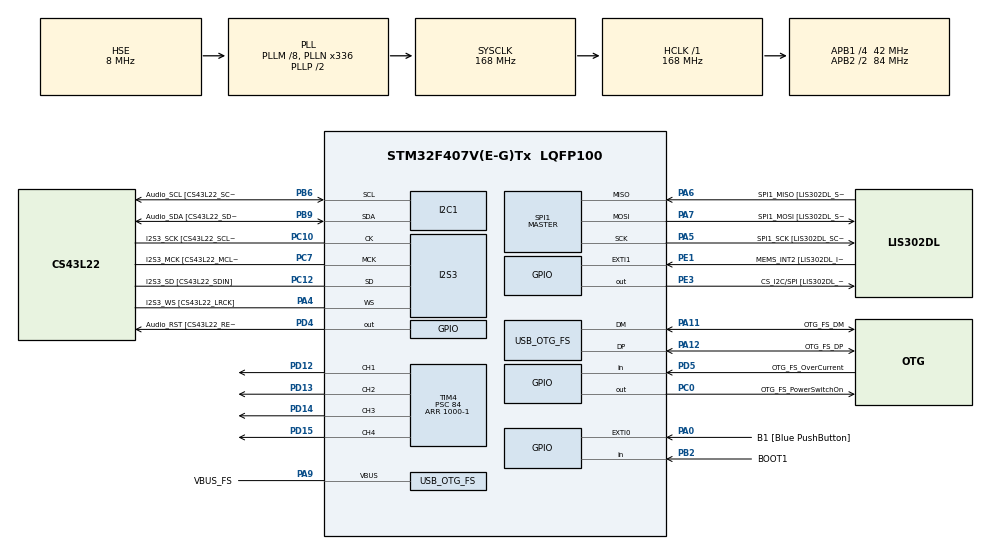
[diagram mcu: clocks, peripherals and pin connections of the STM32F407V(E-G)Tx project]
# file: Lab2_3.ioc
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I2S3.AudioFreq-Half_Duplex_Master=I2S_AUDIOFREQ_96K
I2S3.ErrorAudioFreq=-2.34 %
I2S3.ErrorAudioFreq-Half_Duplex_Master=0.8 %
I2S3.FullDuplexMode=I2S_FULLDUPLEXMODE_DISABLE
I2S3.Instance=SPI$Index
I2S3.RealAudioFreq=93.75 KHz
I2S3.RealAudioFreq-Half_Duplex_Master=96.774 KHz
I2S3.VirtualMode=I2S_MODE_MASTER
Mcu.Family=STM32F4
Mcu.Name=STM32F407V(E-G)Tx
Mcu.Package=LQFP100
NVIC.OTG_FS_IRQn=true\:0\:0\:false\:false\:true\:true\:true\:true
NVIC.PriorityGroup=NVIC_PRIORITYGROUP_0
NVIC.TIM4_IRQn=true\:0\:0\:false\:false\:true\:true\:true\:true
PA0-WKUP.GPIO_Label=B1 [Blue PushButton]
PA0-WKUP.GPIO_ModeDefaultEXTI=GPIO_MODE_EVT_RISING
PA0-WKUP.GPIO_PuPd=GPIO_NOPULL
PA0-WKUP.Signal=GPXTI0
PA10.GPIO_Label=OTG_FS_ID
PA10.GPIO_Mode=GPIO_MODE_AF_PP
PA10.GPIO_PuPd=GPIO_NOPULL
PA10.GPIO_Speed=GPIO_SPEED_FREQ_LOW
PA10.Signal=USB_OTG_FS_ID
PA11.GPIO_Label=OTG_FS_DM
PA11.GPIO_Mode=GPIO_MODE_AF_PP
PA11.GPIO_PuPd=GPIO_NOPULL
PA11.GPIO_Speed=GPIO_SPEED_FREQ_LOW
PA11.Mode=Host_Only
PA11.Signal=USB_OTG_FS_DM
PA12.GPIO_Label=OTG_FS_DP
PA12.GPIO_Mode=GPIO_MODE_AF_PP
PA12.GPIO_PuPd=GPIO_NOPULL
PA12.GPIO_Speed=GPIO_SPEED_FREQ_LOW
PA12.Mode=Host_Only
PA12.Signal=USB_OTG_FS_DP
PA13.GPIO_Label=SWDIO
PA13.Mode=Serial_Wire
PA13.Signal=SYS_JTMS-SWDIO
PA14.GPIO_Label=SWCLK
PA14.Mode=Serial_Wire
PA14.Signal=SYS_JTCK-SWCLK
PA4.GPIO_Label=I2S3_WS [CS43L22_LRCK]
PA4.GPIO_Mode=GPIO_MODE_AF_PP
PA4.GPIO_PuPd=GPIO_NOPULL
PA4.GPIO_Speed=GPIO_SPEED_FREQ_LOW
PA4.Mode=Half_Duplex_Master
PA4.Signal=I2S3_WS
PA5.GPIO_Label=SPI1_SCK [LIS302DL_SCL/SPC]
PA5.GPIO_Mode=GPIO_MODE_AF_PP
PA5.GPIO_PuPd=GPIO_NOPULL
PA5.GPIO_Speed=GPIO_SPEED_FREQ_LOW
PA5.Mode=Full_Duplex_Master
PA5.Signal=SPI1_SCK
PA6.GPIO_Label=SPI1_MISO [LIS302DL_SDO]
PA6.GPIO_Mode=GPIO_MODE_AF_PP
PA6.GPIO_PuPd=GPIO_NOPULL
PA6.GPIO_Speed=GPIO_SPEED_FREQ_LOW
PA6.Mode=Full_Duplex_Master
PA6.Signal=SPI1_MISO
PA7.GPIO_Label=SPI1_MOSI [LIS302DL_SDA/SDI/SDO]
PA7.GPIO_Mode=GPIO_MODE_AF_PP
PA7.GPIO_PuPd=GPIO_NOPULL
PA7.GPIO_Speed=GPIO_SPEED_FREQ_LOW
PA7.Mode=Full_Duplex_Master
PA7.Signal=SPI1_MOSI
PA9.GPIO_Label=VBUS_FS
PA9.GPIO_Mode=GPIO_MODE_INPUT
PA9.GPIO_PuPd=GPIO_NOPULL
PA9.Mode=Activate_VBUS
PA9.Signal=USB_OTG_FS_VBUS
PB10.GPIO_Label=CLK_IN [MP45DT02_CLK]
PB10.GPIO_Mode=GPIO_MODE_AF_PP
PB10.GPIO_PuPd=GPIO_NOPULL
PB10.GPIO_Speed=GPIO_SPEED_FREQ_LOW
PB10.Signal=I2S2_CK
PB2.GPIO_Label=BOOT1
PB2.GPIO_Mode=GPIO_MODE_INPUT
PB2.GPIO_PuPd=GPIO_NOPULL
PB2.Signal=GPIO_Input
PB3.GPIO_Label=SWO
PB3.Signal=SYS_JTDO-SWO
PB6.GPIO_Label=Audio_SCL [CS43L22_SCL]
PB6.GPIO_Mode=GPIO_MODE_AF_OD
PB6.GPIO_Pu=GPIO_PULLUP
PB6.GPIO_PuPd=GPIO_NOPULL
PB6.GPIO_Speed=GPIO_SPEED_FREQ_LOW
PB6.Mode=I2C
PB6.Signal=I2C1_SCL
PB9.GPIO_Label=Audio_SDA [CS43L22_SDA]
PB9.GPIO_Mode=GPIO_MODE_AF_OD
PB9.GPIO_Pu=GPIO_PULLUP
PB9.GPIO_PuPd=GPIO_NOPULL
PB9.GPIO_Speed=GPIO_SPEED_FREQ_LOW
PB9.Mode=I2C
PB9.Signal=I2C1_SDA
PC0.GPIO_Label=OTG_FS_PowerSwitchOn
PC0.GPIO_PuPd=GPIO_NOPULL
PC0.GPIO_Speed=GPIO_SPEED_FREQ_LOW
PC0.PinState=GPIO_PIN_SET
PC0.Signal=GPIO_Output
PC10.GPIO_Label=I2S3_SCK [CS43L22_SCLK]
PC10.GPIO_Mode=GPIO_MODE_AF_PP
PC10.GPIO_PuPd=GPIO_NOPULL
PC10.GPIO_Speed=GPIO_SPEED_FREQ_LOW
PC10.Mode=Half_Duplex_Master
PC10.Signal=I2S3_CK
PC12.GPIO_Label=I2S3_SD [CS43L22_SDIN]
PC12.GPIO_Mode=GPIO_MODE_AF_PP
PC12.GPIO_PuPd=GPIO_NOPULL
PC12.GPIO_Speed=GPIO_SPEED_FREQ_LOW
PC12.Mode=Half_Duplex_Master
PC12.Signal=I2S3_SD
PC14-OSC32_IN.GPIO_Label=PC14-OSC32_IN
PC14-OSC32_IN.Mode=LSE-External-Oscillator
PC14-OSC32_IN.Signal=RCC_OSC32_IN
PC15-OSC32_OUT.GPIO_Label=PC15-OSC32_OUT
PC15-OSC32_OUT.Mode=LSE-External-Oscillator
PC15-OSC32_OUT.Signal=RCC_OSC32_OUT
PC3.GPIO_Label=PDM_OUT [MP45DT02_DOUT]
PC3.GPIO_Mode=GPIO_MODE_AF_PP
PC3.GPIO_PuPd=GPIO_NOPULL
PC3.GPIO_Speed=GPIO_SPEED_FREQ_LOW
PC3.Signal=I2S2_SD
PC7.GPIO_Label=I2S3_MCK [CS43L22_MCLK]
PC7.GPIO_Mode=GPIO_MODE_AF_PP
PC7.GPIO_PuPd=GPIO_NOPULL
PC7.GPIO_Speed=GPIO_SPEED_FREQ_LOW
PC7.Mode=Master_Clock_Activated
PC7.Signal=I2S3_MCK
PD12.Signal=S_TIM4_CH1
PD13.Signal=S_TIM4_CH2
PD14.Signal=S_TIM4_CH3
PD15.Signal=S_TIM4_CH4
PD4.GPIO_Label=Audio_RST [CS43L22_RESET]
PD4.GPIO_PuPd=GPIO_NOPULL
PD4.GPIO_Speed=GPIO_SPEED_FREQ_LOW
PD4.Signal=GPIO_Output
PD5.GPIO_Label=OTG_FS_OverCurrent
PD5.GPIO_Mode=GPIO_MODE_INPUT
PD5.GPIO_PuPd=GPIO_NOPULL
PD5.Signal=GPIO_Input
PE1.GPIO_Label=MEMS_INT2 [LIS302DL_INT2]
PE1.GPIO_ModeDefaultEXTI=GPIO_MODE_EVT_RISING
PE1.GPIO_PuPd=GPIO_NOPULL
PE1.Signal=GPXTI1
PE3.GPIO_Label=CS_I2C/SPI [LIS302DL_CS_I2C/SPI]
PE3.GPIO_PuPd=GPIO_NOPULL
PE3.GPIO_Speed=GPIO_SPEED_FREQ_LOW
PE3.Signal=GPIO_Output
PH0-OSC_IN.GPIO_Label=PH0-OSC_IN
PH0-OSC_IN.Mode=HSE-External-Oscillator
PH0-OSC_IN.Signal=RCC_OSC_IN
PH1-OSC_OUT.GPIO_Label=PH1-OSC_OUT
PH1-OSC_OUT.Mode=HSE-External-Oscillator
PH1-OSC_OUT.Signal=RCC_OSC_OUT
ProjectManager.HeapSize=0x200
ProjectManager.StackSize=0x400
ProjectManager.TargetToolchain=STM32CubeIDE
RCC.48MHZClocksFreq_Value=48000000
RCC.AHBFreq_Value=168000000
RCC.APB1CLKDivider=RCC_HCLK_DIV4
RCC.APB1Freq_Value=42000000
RCC.APB1TimFreq_Value=84000000
RCC.APB2CLKDivider=RCC_HCLK_DIV2
RCC.APB2Freq_Value=84000000
RCC.APB2TimFreq_Value=168000000
RCC.CortexFreq_Value=168000000
RCC.HCLKFreq_Value=168000000
RCC.HSE_VALUE=8000000
RCC.HSI_VALUE=16000000
RCC.PLLM=8
RCC.PLLN=336
RCC.PLLQ=7
RCC.SYSCLKFreq_VALUE=168000000
RCC.SYSCLKSource=RCC_SYSCLKSOURCE_PLLCLK
RCC.VCOOutputFreq_Value=336000000
SH.S_TIM4_CH1.0=TIM4_CH1,PWM Generation1 CH1
SH.S_TIM4_CH2.0=TIM4_CH2,PWM Generation2 CH2
SH.S_TIM4_CH3.0=TIM4_CH3,PWM Generation3 CH3
SH.S_TIM4_CH4.0=TIM4_CH4,PWM Generation4 CH4
SPI1.BaudRatePrescaler-Full_Duplex_Master=SPI_BAUDRATEPRESCALER_2
SPI1.CalculateBaudRate-Full_Duplex_Master=42.0 MBits/s
SPI1.Direction=SPI_DIRECTION_2LINES
SPI1.Mode=SPI_MODE_MASTER
SPI1.Mode-Full_Duplex_Master=SPI_MODE_MASTER
SPI1.VirtualType=VM_MASTER
TIM4.Channel-PWM\ Generation1\ CH1=TIM_CHANNEL_1
TIM4.Channel-PWM\ Generation2\ CH2=TIM_CHANNEL_2
TIM4.Channel-PWM\ Generation3\ CH3=TIM_CHANNEL_3
TIM4.Channel-PWM\ Generation4\ CH4=TIM_CHANNEL_4
TIM4.Period=1000-1
TIM4.Prescaler=84
USB_HOST.BSP.number=1
USB_HOST.USBH_HandleTypeDef-CDC_FS=hUsbHostFS
USB_HOST.VirtualModeFS=Cdc
USB_HOST0.BSP.STBoard=false
USB_HOST0.BSP.api=Unknown
USB_HOST0.BSP.instance=PC0
USB_HOST0.BSP.ip=GPIO
USB_HOST0.BSP.mode=Output
USB_HOST0.BSP.name=Drive_VBUS_FS
USB_HOST0.BSP.solution=PC0
USB_OTG_FS.VirtualMode=Host_Only
USB_OTG_FS.phy_itface=HCD_PHY_EMBEDDED
VP_TIM4_VS_ClockSourceINT.Mode=Internal
VP_USB_HOST_VS_USB_HOST_CDC_FS.Mode=CDC_FS
board=STM32F407G-DISC1

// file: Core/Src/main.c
/* USER CODE BEGIN Header */
/**
  ******************************************************************************
  * @file           : main.c
  * @brief          : Main program body
  ******************************************************************************
  * @attention
  *
  * Copyright (c) 2025 STMicroelectronics.
  * All rights reserved.
  *
  * This software is licensed under terms that can be found in the LICENSE file
  * in the root directory of this software component.
  * If no LICENSE file comes with this software, it is provided AS-IS.
  *
  ******************************************************************************
  */
/* USER CODE END Header */
#include "main.h"
#include "usb_host.h"

I2C_HandleTypeDef hi2c1;

I2S_HandleTypeDef hi2s3;

SPI_HandleTypeDef hspi1;

TIM_HandleTypeDef htim4;

void SystemClock_Config(void);
static void MX_GPIO_Init(void);
static void MX_I2C1_Init(void);
static void MX_I2S3_Init(void);
static void MX_SPI1_Init(void);
static void MX_TIM4_Init(void);
void MX_USB_HOST_Process(void);

int main(void)
{

  /* MCU Configuration--------------------------------------------------------*/

  /* Reset of all peripherals, Initializes the Flash interface and the Systick. */
  HAL_Init();

  /* Configure the system clock */
  SystemClock_Config();

  /* Initialize all configured peripherals */
  MX_GPIO_Init();
  MX_I2C1_Init();
  MX_I2S3_Init();
  MX_SPI1_Init();
  MX_USB_HOST_Init();
  MX_TIM4_Init();
  /* USER CODE BEGIN 2 */
  uint16_t TIM_DC = 1;
  HAL_TIM_PWM_Start(&htim4, TIM_CHANNEL_1);
  HAL_TIM_PWM_Start(&htim4, TIM_CHANNEL_2);
  HAL_TIM_PWM_Start(&htim4, TIM_CHANNEL_3);
  HAL_TIM_PWM_Start(&htim4, TIM_CHANNEL_4);

  /* USER CODE END 2 */

  /* Infinite loop */
  while (1)
  {
    MX_USB_HOST_Process();

    /* USER CODE BEGIN 3 */
    htim4.Instance->CCR1 = TIM_DC;
    htim4.Instance->CCR2 = TIM_DC;
    htim4.Instance->CCR3 = TIM_DC;
    htim4.Instance->CCR4 = TIM_DC;
    	if(TIM_DC == 0)
    	{
    		HAL_Delay(500);
    	}
    	if (TIM_DC < 999) {
    		TIM_DC++;
    	}
    	else {
    		TIM_DC = 0;
    	}
    	HAL_Delay(2);

  }
  /* USER CODE END 3 */
}

void SystemClock_Config(void)
{
  RCC_OscInitTypeDef RCC_OscInitStruct = {0};
  RCC_ClkInitTypeDef RCC_ClkInitStruct = {0};

  /** Configure the main internal regulator output voltage
  */
  __HAL_RCC_PWR_CLK_ENABLE();
  __HAL_PWR_VOLTAGESCALING_CONFIG(PWR_REGULATOR_VOLTAGE_SCALE1);

  /** Initializes the RCC Oscillators according to the specified parameters
  * in the RCC_OscInitTypeDef structure.
  */
  RCC_OscInitStruct.OscillatorType = RCC_OSCILLATORTYPE_HSE;
  RCC_OscInitStruct.HSEState = RCC_HSE_ON;
  RCC_OscInitStruct.PLL.PLLState = RCC_PLL_ON;
  RCC_OscInitStruct.PLL.PLLSource = RCC_PLLSOURCE_HSE;
  RCC_OscInitStruct.PLL.PLLM = 8;
  RCC_OscInitStruct.PLL.PLLN = 336;
  RCC_OscInitStruct.PLL.PLLP = RCC_PLLP_DIV2;
  RCC_OscInitStruct.PLL.PLLQ = 7;
  if (HAL_RCC_OscConfig(&RCC_OscInitStruct) != HAL_OK)
  {
    Error_Handler();
  }

  /** Initializes the CPU, AHB and APB buses clocks
  */
  RCC_ClkInitStruct.ClockType = RCC_CLOCKTYPE_HCLK|RCC_CLOCKTYPE_SYSCLK
                              |RCC_CLOCKTYPE_PCLK1|RCC_CLOCKTYPE_PCLK2;
  RCC_ClkInitStruct.SYSCLKSource = RCC_SYSCLKSOURCE_PLLCLK;
  RCC_ClkInitStruct.AHBCLKDivider = RCC_SYSCLK_DIV1;
  RCC_ClkInitStruct.APB1CLKDivider = RCC_HCLK_DIV4;
  RCC_ClkInitStruct.APB2CLKDivider = RCC_HCLK_DIV2;

  if (HAL_RCC_ClockConfig(&RCC_ClkInitStruct, FLASH_LATENCY_5) != HAL_OK)
  {
    Error_Handler();
  }
}

static void MX_I2C1_Init(void)
{

  hi2c1.Instance = I2C1;
  hi2c1.Init.ClockSpeed = 100000;
  hi2c1.Init.DutyCycle = I2C_DUTYCYCLE_2;
  hi2c1.Init.OwnAddress1 = 0;
  hi2c1.Init.AddressingMode = I2C_ADDRESSINGMODE_7BIT;
  hi2c1.Init.DualAddressMode = I2C_DUALADDRESS_DISABLE;
  hi2c1.Init.OwnAddress2 = 0;
  hi2c1.Init.GeneralCallMode = I2C_GENERALCALL_DISABLE;
  hi2c1.Init.NoStretchMode = I2C_NOSTRETCH_DISABLE;
  if (HAL_I2C_Init(&hi2c1) != HAL_OK)
  {
    Error_Handler();
  }

}

static void MX_I2S3_Init(void)
{

  hi2s3.Instance = SPI3;
  hi2s3.Init.Mode = I2S_MODE_MASTER_TX;
  hi2s3.Init.Standard = I2S_STANDARD_PHILIPS;
  hi2s3.Init.DataFormat = I2S_DATAFORMAT_16B;
  hi2s3.Init.MCLKOutput = I2S_MCLKOUTPUT_ENABLE;
  hi2s3.Init.AudioFreq = I2S_AUDIOFREQ_96K;
  hi2s3.Init.CPOL = I2S_CPOL_LOW;
  hi2s3.Init.ClockSource = I2S_CLOCK_PLL;
  hi2s3.Init.FullDuplexMode = I2S_FULLDUPLEXMODE_DISABLE;
  if (HAL_I2S_Init(&hi2s3) != HAL_OK)
  {
    Error_Handler();
  }

}

static void MX_SPI1_Init(void)
{

  /* SPI1 parameter configuration*/
  hspi1.Instance = SPI1;
  hspi1.Init.Mode = SPI_MODE_MASTER;
  hspi1.Init.Direction = SPI_DIRECTION_2LINES;
  hspi1.Init.DataSize = SPI_DATASIZE_8BIT;
  hspi1.Init.CLKPolarity = SPI_POLARITY_LOW;
  hspi1.Init.CLKPhase = SPI_PHASE_1EDGE;
  hspi1.Init.NSS = SPI_NSS_SOFT;
  hspi1.Init.BaudRatePrescaler = SPI_BAUDRATEPRESCALER_2;
  hspi1.Init.FirstBit = SPI_FIRSTBIT_MSB;
  hspi1.Init.TIMode = SPI_TIMODE_DISABLE;
  hspi1.Init.CRCCalculation = SPI_CRCCALCULATION_DISABLE;
  hspi1.Init.CRCPolynomial = 10;
  if (HAL_SPI_Init(&hspi1) != HAL_OK)
  {
    Error_Handler();
  }

}

static void MX_TIM4_Init(void)
{

  TIM_ClockConfigTypeDef sClockSourceConfig = {0};
  TIM_MasterConfigTypeDef sMasterConfig = {0};
  TIM_OC_InitTypeDef sConfigOC = {0};

  htim4.Instance = TIM4;
  htim4.Init.Prescaler = 84;
  htim4.Init.CounterMode = TIM_COUNTERMODE_UP;
  htim4.Init.Period = 1000-1;
  htim4.Init.ClockDivision = TIM_CLOCKDIVISION_DIV1;
  htim4.Init.AutoReloadPreload = TIM_AUTORELOAD_PRELOAD_DISABLE;
  if (HAL_TIM_Base_Init(&htim4) != HAL_OK)
  {
    Error_Handler();
  }
  sClockSourceConfig.ClockSource = TIM_CLOCKSOURCE_INTERNAL;
  if (HAL_TIM_ConfigClockSource(&htim4, &sClockSourceConfig) != HAL_OK)
  {
    Error_Handler();
  }
  if (HAL_TIM_PWM_Init(&htim4) != HAL_OK)
  {
    Error_Handler();
  }
  sMasterConfig.MasterOutputTrigger = TIM_TRGO_RESET;
  sMasterConfig.MasterSlaveMode = TIM_MASTERSLAVEMODE_DISABLE;
  if (HAL_TIMEx_MasterConfigSynchronization(&htim4, &sMasterConfig) != HAL_OK)
  {
    Error_Handler();
  }
  sConfigOC.OCMode = TIM_OCMODE_PWM1;
  sConfigOC.Pulse = 0;
  sConfigOC.OCPolarity = TIM_OCPOLARITY_HIGH;
  sConfigOC.OCFastMode = TIM_OCFAST_DISABLE;
  if (HAL_TIM_PWM_ConfigChannel(&htim4, &sConfigOC, TIM_CHANNEL_1) != HAL_OK)
  {
    Error_Handler();
  }
  if (HAL_TIM_PWM_ConfigChannel(&htim4, &sConfigOC, TIM_CHANNEL_2) != HAL_OK)
  {
    Error_Handler();
  }
  if (HAL_TIM_PWM_ConfigChannel(&htim4, &sConfigOC, TIM_CHANNEL_3) != HAL_OK)
  {
    Error_Handler();
  }
  if (HAL_TIM_PWM_ConfigChannel(&htim4, &sConfigOC, TIM_CHANNEL_4) != HAL_OK)
  {
    Error_Handler();
  }
  HAL_TIM_MspPostInit(&htim4);

}

static void MX_GPIO_Init(void)
{
  GPIO_InitTypeDef GPIO_InitStruct = {0};

  /* GPIO Ports Clock Enable */
  __HAL_RCC_GPIOE_CLK_ENABLE();
  __HAL_RCC_GPIOC_CLK_ENABLE();
  __HAL_RCC_GPIOH_CLK_ENABLE();
  __HAL_RCC_GPIOA_CLK_ENABLE();
  __HAL_RCC_GPIOB_CLK_ENABLE();
  __HAL_RCC_GPIOD_CLK_ENABLE();

  /*Configure GPIO pin Output Level */
  HAL_GPIO_WritePin(CS_I2C_SPI_GPIO_Port, CS_I2C_SPI_Pin, GPIO_PIN_RESET);

  /*Configure GPIO pin Output Level */
  HAL_GPIO_WritePin(OTG_FS_PowerSwitchOn_GPIO_Port, OTG_FS_PowerSwitchOn_Pin, GPIO_PIN_SET);

  /*Configure GPIO pin Output Level */
  HAL_GPIO_WritePin(Audio_RST_GPIO_Port, Audio_RST_Pin, GPIO_PIN_RESET);

  /*Configure GPIO pin : CS_I2C_SPI_Pin */
  GPIO_InitStruct.Pin = CS_I2C_SPI_Pin;
  GPIO_InitStruct.Mode = GPIO_MODE_OUTPUT_PP;
  GPIO_InitStruct.Pull = GPIO_NOPULL;
  GPIO_InitStruct.Speed = GPIO_SPEED_FREQ_LOW;
  HAL_GPIO_Init(CS_I2C_SPI_GPIO_Port, &GPIO_InitStruct);

  /*Configure GPIO pin : OTG_FS_PowerSwitchOn_Pin */
  GPIO_InitStruct.Pin = OTG_FS_PowerSwitchOn_Pin;
  GPIO_InitStruct.Mode = GPIO_MODE_OUTPUT_PP;
  GPIO_InitStruct.Pull = GPIO_NOPULL;
  GPIO_InitStruct.Speed = GPIO_SPEED_FREQ_LOW;
  HAL_GPIO_Init(OTG_FS_PowerSwitchOn_GPIO_Port, &GPIO_InitStruct);

  /*Configure GPIO pin : PDM_OUT_Pin */
  GPIO_InitStruct.Pin = PDM_OUT_Pin;
  GPIO_InitStruct.Mode = GPIO_MODE_AF_PP;
  GPIO_InitStruct.Pull = GPIO_NOPULL;
  GPIO_InitStruct.Speed = GPIO_SPEED_FREQ_LOW;
  GPIO_InitStruct.Alternate = GPIO_AF5_SPI2;
  HAL_GPIO_Init(PDM_OUT_GPIO_Port, &GPIO_InitStruct);

  /*Configure GPIO pin : B1_Pin */
  GPIO_InitStruct.Pin = B1_Pin;
  GPIO_InitStruct.Mode = GPIO_MODE_EVT_RISING;
  GPIO_InitStruct.Pull = GPIO_NOPULL;
  HAL_GPIO_Init(B1_GPIO_Port, &GPIO_InitStruct);

  /*Configure GPIO pin : BOOT1_Pin */
  GPIO_InitStruct.Pin = BOOT1_Pin;
  GPIO_InitStruct.Mode = GPIO_MODE_INPUT;
  GPIO_InitStruct.Pull = GPIO_NOPULL;
  HAL_GPIO_Init(BOOT1_GPIO_Port, &GPIO_InitStruct);

  /*Configure GPIO pin : CLK_IN_Pin */
  GPIO_InitStruct.Pin = CLK_IN_Pin;
  GPIO_InitStruct.Mode = GPIO_MODE_AF_PP;
  GPIO_InitStruct.Pull = GPIO_NOPULL;
  GPIO_InitStruct.Speed = GPIO_SPEED_FREQ_LOW;
  GPIO_InitStruct.Alternate = GPIO_AF5_SPI2;
  HAL_GPIO_Init(CLK_IN_GPIO_Port, &GPIO_InitStruct);

  /*Configure GPIO pin : Audio_RST_Pin */
  GPIO_InitStruct.Pin = Audio_RST_Pin;
  GPIO_InitStruct.Mode = GPIO_MODE_OUTPUT_PP;
  GPIO_InitStruct.Pull = GPIO_NOPULL;
  GPIO_InitStruct.Speed = GPIO_SPEED_FREQ_LOW;
  HAL_GPIO_Init(Audio_RST_GPIO_Port, &GPIO_InitStruct);

  /*Configure GPIO pin : OTG_FS_OverCurrent_Pin */
  GPIO_InitStruct.Pin = OTG_FS_OverCurrent_Pin;
  GPIO_InitStruct.Mode = GPIO_MODE_INPUT;
  GPIO_InitStruct.Pull = GPIO_NOPULL;
  HAL_GPIO_Init(OTG_FS_OverCurrent_GPIO_Port, &GPIO_InitStruct);

  /*Configure GPIO pin : MEMS_INT2_Pin */
  GPIO_InitStruct.Pin = MEMS_INT2_Pin;
  GPIO_InitStruct.Mode = GPIO_MODE_EVT_RISING;
  GPIO_InitStruct.Pull = GPIO_NOPULL;
  HAL_GPIO_Init(MEMS_INT2_GPIO_Port, &GPIO_InitStruct);

}

void Error_Handler(void)
{
  __disable_irq();
  while (1)
  {
  }
}
